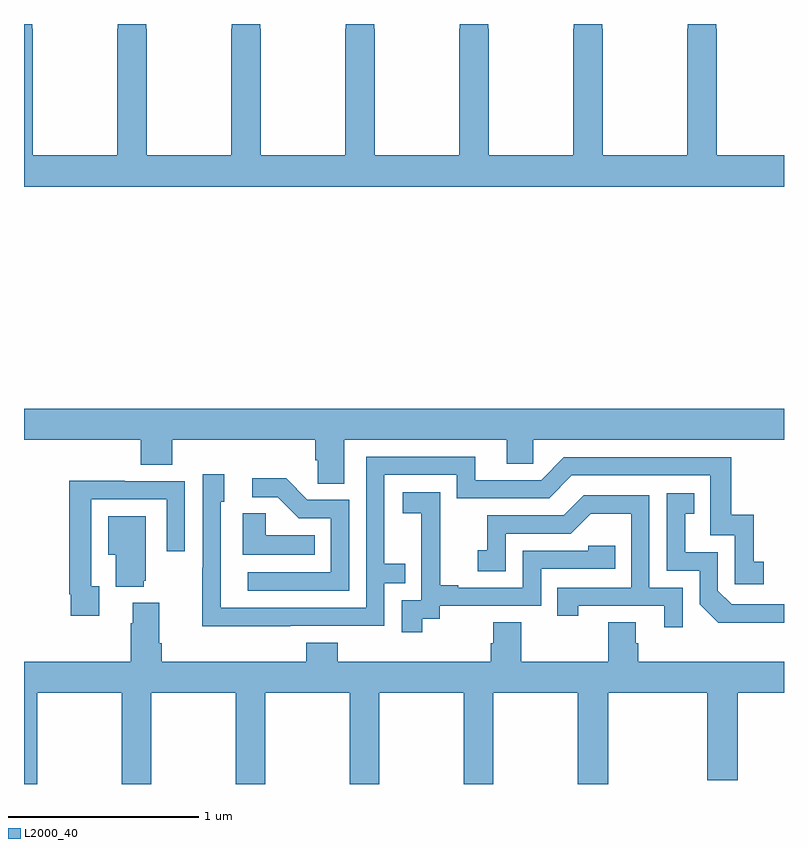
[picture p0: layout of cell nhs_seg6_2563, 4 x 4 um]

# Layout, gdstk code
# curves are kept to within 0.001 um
import gdstk
lib = gdstk.Library(unit=1e-6, precision=1e-09)
def P(c, l, *ps):  # polygons
    for p in ps: c.add(gdstk.Polygon(p, *l))
L2000_40 = (2000, 40)

nhs_seg6_2563 = lib.new_cell('nhs_seg6_2563')
P(nhs_seg6_2563, L2000_40, [(267,972.808),(266.646,972.808),(266.646,973.475),(266.643,973.475),(266.643,973.5),(266.493,973.5),(266.493,973.475),(266.491,973.475),(266.491,972.808),(266.046,972.808),(266.046,973.475),(266.043,973.475),(266.043,973.5),(265.893,973.5),(265.893,973.475),(265.891,973.475),(265.891,972.808),(265.446,972.808),(265.446,973.475),(265.443,973.475),(265.443,973.5),(265.293,973.5),(265.293,973.475),(265.291,973.475),(265.291,972.808),(264.846,972.808),(264.846,973.475),(264.843,973.475),(264.843,973.5),(264.693,973.5),(264.693,973.475),(264.691,973.475),(264.691,972.808),(264.246,972.808),(264.246,973.475),(264.243,973.475),(264.243,973.5),(264.093,973.5),(264.093,973.475),(264.091,973.475),(264.091,972.808),(263.646,972.808),(263.646,973.475),(263.643,973.475),(263.643,973.5),(263.493,973.5),(263.493,973.475),(263.491,973.475),(263.491,972.808),(263.046,972.808),(263.046,973.475),(263.043,973.475),(263.043,973.5),(263,973.5),(263,972.644),(267,972.644)],
  [(264.685,971.312),(265.541,971.312),(265.541,971.185),(265.68,971.185),(265.68,971.312),(267,971.312),(267,971.476),(263,971.476),(263,971.312),(263.615,971.312),(263.615,971.179),(263.78,971.179),(263.78,971.312),(264.533,971.312),(264.533,971.203),(264.546,971.203),(264.546,971.08),(264.685,971.08)],
  [(264.401,970.332),(264.897,970.332),(264.897,970.557),(265.007,970.557),(265.007,970.658),(264.897,970.658),(264.897,971.127),(265.278,971.127),(265.278,971.004),(265.764,971.004),(265.884,971.124),(266.613,971.124),(266.613,970.809),(266.742,970.809),(266.742,970.551),(266.893,970.551),(266.893,970.671),(266.84,970.671),(266.84,970.918),(266.722,970.918),(266.722,971.22),(265.842,971.22),(265.722,971.1),(265.375,971.1),(265.375,971.223),(264.801,971.223),(264.801,970.428),(264.036,970.428),(264.036,970.986),(264.055,970.986),(264.055,971.131),(263.94,971.131),(263.94,970.637),(263.938,970.637),(263.938,970.331)],
  [(264.711,970.995),(264.492,970.995),(264.379,971.108),(264.201,971.108),(264.201,971.01),(264.335,971.01),(264.446,970.899),(264.615,970.899),(264.615,970.614),(264.177,970.614),(264.177,970.518),(264.711,970.518)],
  [(263.395,970.542),(263.355,970.542),(263.355,970.998),(263.751,970.998),(263.751,970.725),(263.847,970.725),(263.847,971.094),(263.531,971.094),(263.531,971.096),(263.239,971.096),(263.239,970.498),(263.247,970.498),(263.247,970.386),(263.395,970.386)],
  [(265.096,970.369),(265.188,970.369),(265.188,970.437),(265.722,970.437),(265.722,970.632),(266.111,970.632),(266.111,970.755),(265.971,970.755),(265.971,970.728),(265.626,970.728),(265.626,970.533),(265.285,970.533),(265.285,970.546),(265.19,970.546),(265.19,970.829),(265.191,970.829),(265.191,971.035),(264.993,971.035),(264.993,970.925),(265.091,970.925),(265.091,970.697),(265.092,970.697),(265.092,970.467),(264.987,970.467),(264.987,970.299),(265.096,970.299)],
  [(267,970.446),(266.724,970.446),(266.652,970.518),(266.652,970.719),(266.479,970.719),(266.479,970.923),(266.528,970.923),(266.528,971.029),(266.382,971.029),(266.382,970.623),(266.556,970.623),(266.556,970.446),(266.654,970.349),(267,970.349)],
  [(266.466,970.533),(266.292,970.533),(266.292,971.019),(265.946,971.019),(265.841,970.914),(265.438,970.914),(265.438,970.729),(265.389,970.729),(265.389,970.62),(265.536,970.62),(265.536,970.818),(265.878,970.818),(265.982,970.922),(266.196,970.922),(266.196,970.533),(265.807,970.533),(265.807,970.386),(265.918,970.386),(265.918,970.437),(266.369,970.437),(266.369,970.326),(266.466,970.326)],
  [(264.53,970.81),(264.273,970.81),(264.273,970.925),(264.152,970.925),(264.152,970.706),(264.53,970.706)],
  [(263.63,970.569),(263.641,970.569),(263.641,970.909),(263.444,970.909),(263.444,970.706),(263.483,970.706),(263.483,970.538),(263.63,970.538)],
  [(263.07,969.98),(263.515,969.98),(263.515,969.5),(263.67,969.5),(263.67,969.98),(264.115,969.98),(264.115,969.5),(264.27,969.5),(264.27,969.98),(264.715,969.98),(264.715,969.5),(264.87,969.5),(264.87,969.98),(265.315,969.98),(265.315,969.5),(265.47,969.5),(265.47,969.98),(265.915,969.98),(265.915,969.5),(266.075,969.5),(266.075,969.98),(266.597,969.98),(266.597,969.519),(266.757,969.519),(266.757,969.98),(267,969.98),(267,970.144),(266.234,970.144),(266.234,970.242),(266.221,970.242),(266.221,970.352),(266.074,970.352),(266.074,970.144),(265.617,970.144),(265.617,970.352),(265.469,970.352),(265.469,970.242),(265.457,970.242),(265.457,970.144),(264.65,970.144),(264.65,970.243),(264.485,970.243),(264.485,970.144),(263.726,970.144),(263.726,970.24),(263.713,970.24),(263.713,970.453),(263.573,970.453),(263.573,970.346),(263.561,970.346),(263.561,970.144),(263,970.144),(263,969.5),(263.07,969.5)])

lib.write_gds('nhs_seg6_2563.gds')
